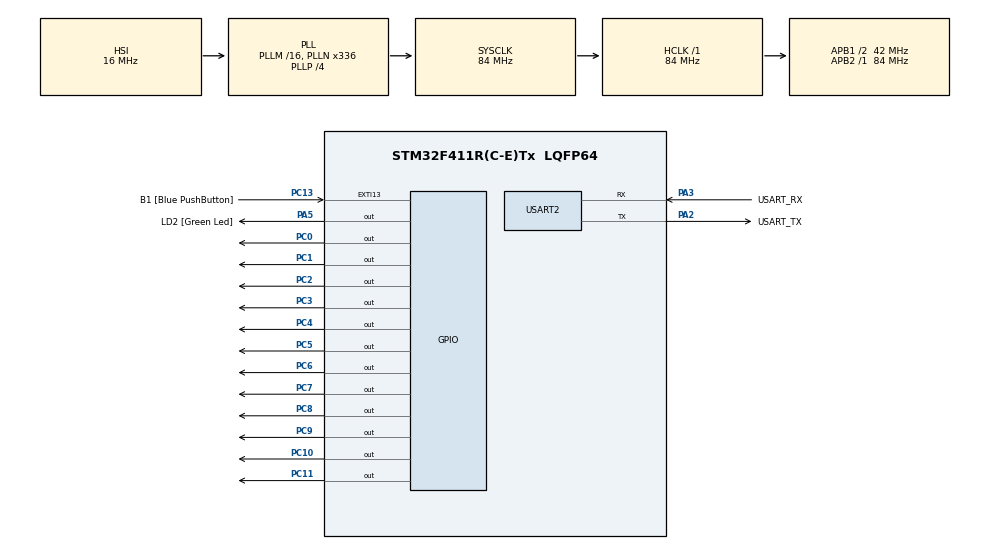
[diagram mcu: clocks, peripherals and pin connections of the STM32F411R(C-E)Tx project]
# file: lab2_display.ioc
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Mcu.Family=STM32F4
Mcu.Name=STM32F411R(C-E)Tx
Mcu.Package=LQFP64
NVIC.PriorityGroup=NVIC_PRIORITYGROUP_0
NVIC.TIM1_TRG_COM_TIM11_IRQn=true\:0\:0\:false\:false\:true\:true\:true\:true
PA13.GPIO_Label=TMS
PA13.Mode=Serial_Wire
PA13.Signal=SYS_JTMS-SWDIO
PA14.GPIO_Label=TCK
PA14.Mode=Serial_Wire
PA14.Signal=SYS_JTCK-SWCLK
PA2.GPIO_Label=USART_TX
PA2.Mode=Asynchronous
PA2.Signal=USART2_TX
PA3.GPIO_Label=USART_RX
PA3.Mode=Asynchronous
PA3.Signal=USART2_RX
PA5.GPIO_Label=LD2 [Green Led]
PA5.Signal=GPIO_Output
PB3.GPIO_Label=SWO
PB3.Signal=SYS_JTDO-SWO
PC0.Signal=GPIO_Output
PC1.Signal=GPIO_Output
PC10.Signal=GPIO_Output
PC11.Signal=GPIO_Output
PC13-ANTI_TAMP.GPIO_Label=B1 [Blue PushButton]
PC13-ANTI_TAMP.GPIO_ModeDefaultEXTI=GPIO_MODE_IT_FALLING
PC13-ANTI_TAMP.Signal=GPXTI13
PC14-OSC32_IN.Mode=LSE-External-Oscillator
PC14-OSC32_IN.Signal=RCC_OSC32_IN
PC15-OSC32_OUT.Mode=LSE-External-Oscillator
PC15-OSC32_OUT.Signal=RCC_OSC32_OUT
PC2.Signal=GPIO_Output
PC3.Signal=GPIO_Output
PC4.Signal=GPIO_Output
PC5.Signal=GPIO_Output
PC6.Signal=GPIO_Output
PC7.Signal=GPIO_Output
PC8.Signal=GPIO_Output
PC9.Signal=GPIO_Output
PH0\ -\ OSC_IN.Mode=HSE-External-Clock-Source
PH0\ -\ OSC_IN.Signal=RCC_OSC_IN
PH1\ -\ OSC_OUT.Mode=HSE-External-Clock-Source
PH1\ -\ OSC_OUT.Signal=RCC_OSC_OUT
ProjectManager.HeapSize=0x200
ProjectManager.StackSize=0x400
ProjectManager.TargetToolchain=STM32CubeIDE
RCC.48MHZClocksFreq_Value=84000000
RCC.AHBFreq_Value=84000000
RCC.APB1CLKDivider=RCC_HCLK_DIV2
RCC.APB1Freq_Value=42000000
RCC.APB1TimFreq_Value=84000000
RCC.APB2Freq_Value=84000000
RCC.APB2TimFreq_Value=84000000
RCC.CortexFreq_Value=84000000
RCC.FLatency-AdvancedSettings=FLASH_LATENCY_2
RCC.HCLKFreq_Value=84000000
RCC.HSE_VALUE=8000000
RCC.HSI_VALUE=16000000
RCC.PLLN=336
RCC.PLLP=RCC_PLLP_DIV4
RCC.SYSCLKFreq_VALUE=84000000
RCC.SYSCLKSource=RCC_SYSCLKSOURCE_PLLCLK
RCC.VCOOutputFreq_Value=336000000
TIM11.Period=1
TIM11.Prescaler=8399
USART2.VirtualMode=VM_ASYNC
VP_TIM11_VS_ClockSourceINT.Mode=Enable_Timer
board=NUCLEO-F411RE

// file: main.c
/* USER CODE BEGIN Header */
/**
  ******************************************************************************
  * @file           : main.c
  * @brief          : Main program body
  ******************************************************************************
  * @attention
  *
  * Copyright (c) 2023 STMicroelectronics.
  * All rights reserved.
  *
  * This software is licensed under terms that can be found in the LICENSE file
  * in the root directory of this software component.
  * If no LICENSE file comes with this software, it is provided AS-IS.
  *
  ******************************************************************************
  */
/* USER CODE END Header */
#include "main.h"

TIM_HandleTypeDef htim11;

UART_HandleTypeDef huart2;

void SystemClock_Config(void);
static void MX_GPIO_Init(void);
static void MX_USART2_UART_Init(void);
static void MX_TIM11_Init(void);
/* USER CODE BEGIN PFP */
volatile uint16_t number;
volatile uint16_t counter;
volatile uint8_t jed;
volatile uint8_t dzi;
volatile uint8_t set;
volatile uint8_t tys;

void get_number(uint16_t number)
{

	switch(number)
	{
	case 0:
		HAL_GPIO_WritePin(GPIOC, GPIO_PIN_6, GPIO_PIN_SET);
		HAL_GPIO_WritePin(GPIOC, GPIO_PIN_4, GPIO_PIN_SET);
		HAL_GPIO_WritePin(GPIOC, GPIO_PIN_3, GPIO_PIN_SET);
		HAL_GPIO_WritePin(GPIOC, GPIO_PIN_1, GPIO_PIN_SET);
		HAL_GPIO_WritePin(GPIOC, GPIO_PIN_2, GPIO_PIN_SET);
		HAL_GPIO_WritePin(GPIOC, GPIO_PIN_5, GPIO_PIN_SET);
		HAL_GPIO_WritePin(GPIOC, GPIO_PIN_0, GPIO_PIN_RESET);
		break;

	case 1:
		HAL_GPIO_WritePin(GPIOC, GPIO_PIN_4, GPIO_PIN_SET);
		HAL_GPIO_WritePin(GPIOC, GPIO_PIN_3, GPIO_PIN_SET);
		HAL_GPIO_WritePin(GPIOC, GPIO_PIN_0, GPIO_PIN_RESET);
		HAL_GPIO_WritePin(GPIOC, GPIO_PIN_1, GPIO_PIN_RESET);
		HAL_GPIO_WritePin(GPIOC, GPIO_PIN_2, GPIO_PIN_RESET);
		HAL_GPIO_WritePin(GPIOC, GPIO_PIN_5, GPIO_PIN_RESET);
		HAL_GPIO_WritePin(GPIOC, GPIO_PIN_6, GPIO_PIN_RESET);
		break;
	case 2:
	   HAL_GPIO_WritePin(GPIOC, GPIO_PIN_4, GPIO_PIN_SET);
	   HAL_GPIO_WritePin(GPIOC, GPIO_PIN_6, GPIO_PIN_SET);
	   HAL_GPIO_WritePin(GPIOC, GPIO_PIN_0, GPIO_PIN_SET);
	   HAL_GPIO_WritePin(GPIOC, GPIO_PIN_2, GPIO_PIN_SET);
	   HAL_GPIO_WritePin(GPIOC, GPIO_PIN_1, GPIO_PIN_SET);
	   HAL_GPIO_WritePin(GPIOC, GPIO_PIN_3, GPIO_PIN_RESET);
	   HAL_GPIO_WritePin(GPIOC, GPIO_PIN_5, GPIO_PIN_RESET);
	   break;
	case 3:
		HAL_GPIO_WritePin(GPIOC, GPIO_PIN_4, GPIO_PIN_SET);
		HAL_GPIO_WritePin(GPIOC, GPIO_PIN_6, GPIO_PIN_SET);
		HAL_GPIO_WritePin(GPIOC, GPIO_PIN_0, GPIO_PIN_SET);
		HAL_GPIO_WritePin(GPIOC, GPIO_PIN_3, GPIO_PIN_SET);
		HAL_GPIO_WritePin(GPIOC, GPIO_PIN_1, GPIO_PIN_SET);
		HAL_GPIO_WritePin(GPIOC, GPIO_PIN_2, GPIO_PIN_RESET);
		HAL_GPIO_WritePin(GPIOC, GPIO_PIN_5, GPIO_PIN_RESET);
		break;
	case 4:
		HAL_GPIO_WritePin(GPIOC, GPIO_PIN_5, GPIO_PIN_SET);
		HAL_GPIO_WritePin(GPIOC, GPIO_PIN_0, GPIO_PIN_SET);
		HAL_GPIO_WritePin(GPIOC, GPIO_PIN_4, GPIO_PIN_SET);
		HAL_GPIO_WritePin(GPIOC, GPIO_PIN_3, GPIO_PIN_SET);
		HAL_GPIO_WritePin(GPIOC, GPIO_PIN_1, GPIO_PIN_RESET);
		HAL_GPIO_WritePin(GPIOC, GPIO_PIN_2, GPIO_PIN_RESET);
		HAL_GPIO_WritePin(GPIOC, GPIO_PIN_6, GPIO_PIN_RESET);
		break;
	case 5:
		HAL_GPIO_WritePin(GPIOC, GPIO_PIN_6, GPIO_PIN_SET);
		HAL_GPIO_WritePin(GPIOC, GPIO_PIN_5, GPIO_PIN_SET);
		HAL_GPIO_WritePin(GPIOC, GPIO_PIN_0, GPIO_PIN_SET);
		HAL_GPIO_WritePin(GPIOC, GPIO_PIN_3, GPIO_PIN_SET);
		HAL_GPIO_WritePin(GPIOC, GPIO_PIN_1, GPIO_PIN_SET);
		HAL_GPIO_WritePin(GPIOC, GPIO_PIN_2, GPIO_PIN_RESET);
		HAL_GPIO_WritePin(GPIOC, GPIO_PIN_4, GPIO_PIN_RESET);
		break;
	case 6:
		HAL_GPIO_WritePin(GPIOC, GPIO_PIN_6, GPIO_PIN_SET);
		HAL_GPIO_WritePin(GPIOC, GPIO_PIN_5, GPIO_PIN_SET);
		HAL_GPIO_WritePin(GPIOC, GPIO_PIN_3, GPIO_PIN_SET);
		HAL_GPIO_WritePin(GPIOC, GPIO_PIN_2, GPIO_PIN_SET);
		HAL_GPIO_WritePin(GPIOC, GPIO_PIN_1, GPIO_PIN_SET);
		HAL_GPIO_WritePin(GPIOC, GPIO_PIN_0, GPIO_PIN_SET);
		break;
	case 7:
		HAL_GPIO_WritePin(GPIOC, GPIO_PIN_6, GPIO_PIN_SET);
		HAL_GPIO_WritePin(GPIOC, GPIO_PIN_4, GPIO_PIN_SET);
		HAL_GPIO_WritePin(GPIOC, GPIO_PIN_3, GPIO_PIN_SET);
		HAL_GPIO_WritePin(GPIOC, GPIO_PIN_0, GPIO_PIN_RESET);
		HAL_GPIO_WritePin(GPIOC, GPIO_PIN_1, GPIO_PIN_RESET);
		HAL_GPIO_WritePin(GPIOC, GPIO_PIN_2, GPIO_PIN_RESET);
		HAL_GPIO_WritePin(GPIOC, GPIO_PIN_5, GPIO_PIN_RESET);
		break;
	case 8:
		HAL_GPIO_WritePin(GPIOC, GPIO_PIN_6, GPIO_PIN_SET);
		HAL_GPIO_WritePin(GPIOC, GPIO_PIN_5, GPIO_PIN_SET);
		HAL_GPIO_WritePin(GPIOC, GPIO_PIN_4, GPIO_PIN_SET);
		HAL_GPIO_WritePin(GPIOC, GPIO_PIN_3, GPIO_PIN_SET);
		HAL_GPIO_WritePin(GPIOC, GPIO_PIN_2, GPIO_PIN_SET);
		HAL_GPIO_WritePin(GPIOC, GPIO_PIN_1, GPIO_PIN_SET);
		HAL_GPIO_WritePin(GPIOC, GPIO_PIN_0, GPIO_PIN_SET);
		break;
	case 9:
		HAL_GPIO_WritePin(GPIOC, GPIO_PIN_6, GPIO_PIN_SET);
		HAL_GPIO_WritePin(GPIOC, GPIO_PIN_5, GPIO_PIN_SET);
		HAL_GPIO_WritePin(GPIOC, GPIO_PIN_4, GPIO_PIN_SET);
		HAL_GPIO_WritePin(GPIOC, GPIO_PIN_3, GPIO_PIN_SET);
		HAL_GPIO_WritePin(GPIOC, GPIO_PIN_1, GPIO_PIN_SET);
		HAL_GPIO_WritePin(GPIOC, GPIO_PIN_0, GPIO_PIN_SET);
		HAL_GPIO_WritePin(GPIOC, GPIO_PIN_2, GPIO_PIN_RESET);
		break;
	}

}

void HAL_TIM_PeriodElapsedCallback(TIM_HandleTypeDef *htim)
{
	if (htim->Instance == TIM11){
		HAL_GPIO_TogglePin(LD2_GPIO_Port, LD2_Pin);

		// Wyłączanie wyświetlaczy
		HAL_GPIO_WritePin(GPIOC, GPIO_PIN_8, GPIO_PIN_SET);
		HAL_GPIO_WritePin(GPIOC, GPIO_PIN_9, GPIO_PIN_SET);
		HAL_GPIO_WritePin(GPIOC, GPIO_PIN_10, GPIO_PIN_SET);
		HAL_GPIO_WritePin(GPIOC, GPIO_PIN_11, GPIO_PIN_SET);

		switch(counter)
		{
		case(3):
			HAL_GPIO_WritePin(GPIOC, GPIO_PIN_8, GPIO_PIN_RESET);
			HAL_GPIO_WritePin(GPIOC, GPIO_PIN_9, GPIO_PIN_SET);
			HAL_GPIO_WritePin(GPIOC, GPIO_PIN_10, GPIO_PIN_SET);
			HAL_GPIO_WritePin(GPIOC, GPIO_PIN_11, GPIO_PIN_SET);
			get_number(jed);
			break;
		case(2):
			HAL_GPIO_WritePin(GPIOC, GPIO_PIN_8, GPIO_PIN_SET);
			HAL_GPIO_WritePin(GPIOC, GPIO_PIN_9, GPIO_PIN_RESET);
			HAL_GPIO_WritePin(GPIOC, GPIO_PIN_10, GPIO_PIN_SET);
			HAL_GPIO_WritePin(GPIOC, GPIO_PIN_11, GPIO_PIN_SET);
			get_number(dzi);
			break;
		case(1):
			HAL_GPIO_WritePin(GPIOC, GPIO_PIN_8, GPIO_PIN_SET);
			HAL_GPIO_WritePin(GPIOC, GPIO_PIN_9, GPIO_PIN_SET);
			HAL_GPIO_WritePin(GPIOC, GPIO_PIN_10, GPIO_PIN_RESET);
			HAL_GPIO_WritePin(GPIOC, GPIO_PIN_11, GPIO_PIN_SET);
			get_number(set);
			break;
		case(0):
			HAL_GPIO_WritePin(GPIOC, GPIO_PIN_8, GPIO_PIN_SET);
			HAL_GPIO_WritePin(GPIOC, GPIO_PIN_9, GPIO_PIN_SET);
			HAL_GPIO_WritePin(GPIOC, GPIO_PIN_10, GPIO_PIN_SET);
			HAL_GPIO_WritePin(GPIOC, GPIO_PIN_11, GPIO_PIN_RESET);
			get_number(tys);
			break;
		}
		counter +=1;
		if (counter > 3){
			counter = 0;
		}

	}
}

/* USER CODE END PFP */

int main(void)
{

  /* MCU Configuration--------------------------------------------------------*/

  /* Reset of all peripherals, Initializes the Flash interface and the Systick. */
  HAL_Init();

  /* Configure the system clock */
  SystemClock_Config();

  /* USER CODE BEGIN SysInit */
  counter = 0;
  number = 7420;
  // Przekodowanie liczby

  jed = number % 10;
  dzi = (number/10) % 10;
  set = (number/100) % 10;
  tys = number/1000;

  /* USER CODE END SysInit */

  /* Initialize all configured peripherals */
  MX_GPIO_Init();
  MX_USART2_UART_Init();
  MX_TIM11_Init();
  /* USER CODE BEGIN 2 */
  HAL_TIM_Base_Start_IT(&htim11);
  /* USER CODE END 2 */

  /* Infinite loop */
  /* USER CODE BEGIN WHILE */
  while (1)
  {
//	  for(uint8_t j = 4; j > 0; j--){
//		  for(uint16_t i = 0; i < 10; i++)
//	  {
//		  get_number(j,i);
//		  HAL_Delay(250);
//	  }
//	  }

    /* USER CODE END WHILE */

  }
}

void SystemClock_Config(void)
{
  RCC_OscInitTypeDef RCC_OscInitStruct = {0};
  RCC_ClkInitTypeDef RCC_ClkInitStruct = {0};

  /** Configure the main internal regulator output voltage
  */
  __HAL_RCC_PWR_CLK_ENABLE();
  __HAL_PWR_VOLTAGESCALING_CONFIG(PWR_REGULATOR_VOLTAGE_SCALE1);

  /** Initializes the RCC Oscillators according to the specified parameters
  * in the RCC_OscInitTypeDef structure.
  */
  RCC_OscInitStruct.OscillatorType = RCC_OSCILLATORTYPE_HSI;
  RCC_OscInitStruct.HSIState = RCC_HSI_ON;
  RCC_OscInitStruct.HSICalibrationValue = RCC_HSICALIBRATION_DEFAULT;
  RCC_OscInitStruct.PLL.PLLState = RCC_PLL_ON;
  RCC_OscInitStruct.PLL.PLLSource = RCC_PLLSOURCE_HSI;
  RCC_OscInitStruct.PLL.PLLM = 16;
  RCC_OscInitStruct.PLL.PLLN = 336;
  RCC_OscInitStruct.PLL.PLLP = RCC_PLLP_DIV4;
  RCC_OscInitStruct.PLL.PLLQ = 4;
  if (HAL_RCC_OscConfig(&RCC_OscInitStruct) != HAL_OK)
  {
    Error_Handler();
  }

  /** Initializes the CPU, AHB and APB buses clocks
  */
  RCC_ClkInitStruct.ClockType = RCC_CLOCKTYPE_HCLK|RCC_CLOCKTYPE_SYSCLK
                              |RCC_CLOCKTYPE_PCLK1|RCC_CLOCKTYPE_PCLK2;
  RCC_ClkInitStruct.SYSCLKSource = RCC_SYSCLKSOURCE_PLLCLK;
  RCC_ClkInitStruct.AHBCLKDivider = RCC_SYSCLK_DIV1;
  RCC_ClkInitStruct.APB1CLKDivider = RCC_HCLK_DIV2;
  RCC_ClkInitStruct.APB2CLKDivider = RCC_HCLK_DIV1;

  if (HAL_RCC_ClockConfig(&RCC_ClkInitStruct, FLASH_LATENCY_2) != HAL_OK)
  {
    Error_Handler();
  }
}

static void MX_TIM11_Init(void)
{

  htim11.Instance = TIM11;
  htim11.Init.Prescaler = 8399;
  htim11.Init.CounterMode = TIM_COUNTERMODE_UP;
  htim11.Init.Period = 1;
  htim11.Init.ClockDivision = TIM_CLOCKDIVISION_DIV1;
  htim11.Init.AutoReloadPreload = TIM_AUTORELOAD_PRELOAD_DISABLE;
  if (HAL_TIM_Base_Init(&htim11) != HAL_OK)
  {
    Error_Handler();
  }

}

static void MX_USART2_UART_Init(void)
{

  huart2.Instance = USART2;
  huart2.Init.BaudRate = 115200;
  huart2.Init.WordLength = UART_WORDLENGTH_8B;
  huart2.Init.StopBits = UART_STOPBITS_1;
  huart2.Init.Parity = UART_PARITY_NONE;
  huart2.Init.Mode = UART_MODE_TX_RX;
  huart2.Init.HwFlowCtl = UART_HWCONTROL_NONE;
  huart2.Init.OverSampling = UART_OVERSAMPLING_16;
  if (HAL_UART_Init(&huart2) != HAL_OK)
  {
    Error_Handler();
  }

}

static void MX_GPIO_Init(void)
{
  GPIO_InitTypeDef GPIO_InitStruct = {0};

  /* GPIO Ports Clock Enable */
  __HAL_RCC_GPIOC_CLK_ENABLE();
  __HAL_RCC_GPIOH_CLK_ENABLE();
  __HAL_RCC_GPIOA_CLK_ENABLE();
  __HAL_RCC_GPIOB_CLK_ENABLE();

  /*Configure GPIO pin Output Level */
  HAL_GPIO_WritePin(GPIOC, GPIO_PIN_0|GPIO_PIN_1|GPIO_PIN_2|GPIO_PIN_3
                          |GPIO_PIN_4|GPIO_PIN_5|GPIO_PIN_6|GPIO_PIN_7
                          |GPIO_PIN_8|GPIO_PIN_9|GPIO_PIN_10|GPIO_PIN_11, GPIO_PIN_RESET);

  /*Configure GPIO pin Output Level */
  HAL_GPIO_WritePin(LD2_GPIO_Port, LD2_Pin, GPIO_PIN_RESET);

  /*Configure GPIO pin : B1_Pin */
  GPIO_InitStruct.Pin = B1_Pin;
  GPIO_InitStruct.Mode = GPIO_MODE_IT_FALLING;
  GPIO_InitStruct.Pull = GPIO_NOPULL;
  HAL_GPIO_Init(B1_GPIO_Port, &GPIO_InitStruct);

  /*Configure GPIO pins : PC0 PC1 PC2 PC3
                           PC4 PC5 PC6 PC7
                           PC8 PC9 PC10 PC11 */
  GPIO_InitStruct.Pin = GPIO_PIN_0|GPIO_PIN_1|GPIO_PIN_2|GPIO_PIN_3
                          |GPIO_PIN_4|GPIO_PIN_5|GPIO_PIN_6|GPIO_PIN_7
                          |GPIO_PIN_8|GPIO_PIN_9|GPIO_PIN_10|GPIO_PIN_11;
  GPIO_InitStruct.Mode = GPIO_MODE_OUTPUT_PP;
  GPIO_InitStruct.Pull = GPIO_NOPULL;
  GPIO_InitStruct.Speed = GPIO_SPEED_FREQ_LOW;
  HAL_GPIO_Init(GPIOC, &GPIO_InitStruct);

  /*Configure GPIO pin : LD2_Pin */
  GPIO_InitStruct.Pin = LD2_Pin;
  GPIO_InitStruct.Mode = GPIO_MODE_OUTPUT_PP;
  GPIO_InitStruct.Pull = GPIO_NOPULL;
  GPIO_InitStruct.Speed = GPIO_SPEED_FREQ_LOW;
  HAL_GPIO_Init(LD2_GPIO_Port, &GPIO_InitStruct);

}

void Error_Handler(void)
{
  __disable_irq();
  while (1)
  {
  }
}
